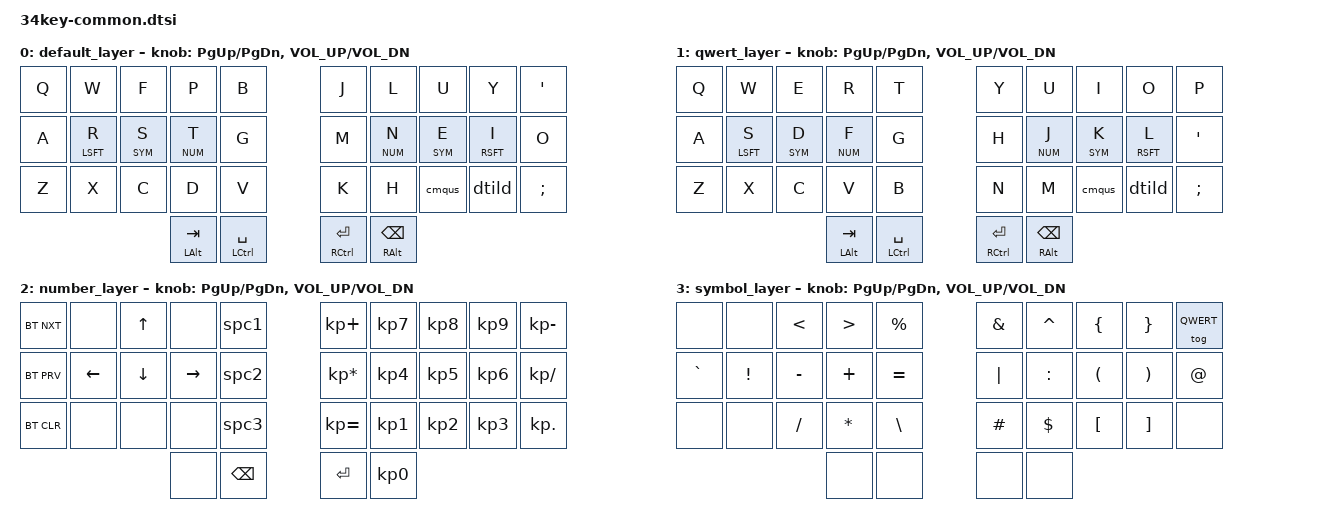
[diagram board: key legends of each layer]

#define DEFAULT 0
#define QWERT   1
#define NUM     2
#define SYM     3

&mt {
   flavor = "tap-preferred";
   tapping_term_ms = <200>;
};

/ { 
    // macros
    macros {
      ZMK_MACRO(hello, // hello world
        wait-ms = <0>;
        tap-ms  = <10>;
        bindings = <&kp LS(H) &kp E &kp L &kp L &kp O>
        , <&kp COMMA>
        , <&kp W &kp O &kp R &kp L &kp D &kp EXCL>;
      )

      ZMK_MACRO(spc1, // for spacemacs window nav, Alt+M+1
        wait-ms = <0>;
        tap-ms  = <10>;
        bindings = <&kp LA(M) &kp N1>;
      )
    
      ZMK_MACRO(spc2,
        wait-ms = <0>;
        tap-ms  = <10>;
        bindings = <&kp LA(M) &kp N2>;
      )
    
      ZMK_MACRO(spc3,
        wait-ms = <0>;
        tap-ms  = <10>;
        bindings = <&kp LA(M) &kp N3>;
      )
    };
   
    // custom shift using mod-morph 
    behaviors {
      cmqus: comma_question {
        compatible = "zmk,behavior-mod-morph";
        label = "COMMA_QUESTION";
        #binding-cells = <0>;
        bindings = <&kp COMMA>, <&kp QUESTION>;
        mods = <(MOD_LSFT|MOD_RSFT)>;
      };

      dtild: dot_tilde {
        compatible = "zmk,behavior-mod-morph";
        label = "DOT_TILDE";
        #binding-cells = <0>;
        bindings = <&kp DOT>, <&kp TILDE>;
        mods = <(MOD_LSFT|MOD_RSFT)>;
      };
    };

    // combos
    combos {
        compatible = "zmk,combos";
        // right hand 
        combo_esc {
            timeout-ms = <50>;
            key-positions = <16 17>;
            bindings = <&kp ESC>;
        };
        
         combo_lgui {
            timeout-ms = <50>;
            key-positions = <5 6>;
            bindings = <&kp LGUI>;
        };
        
         combo_fullscreen {
            timeout-ms = <50>;
            key-positions = <25 26>;
            bindings = <&kp F11>;
        };
        
         combo_wkspc_up {
            timeout-ms = <50>;
            key-positions = <9 19>;
            bindings = <&kp LC(UP)>;
        };
        
         combo_wkspc_down {
            timeout-ms = <50>;
            key-positions = <19 29>;
            bindings = <&kp LC(DOWN)>;
        };

         combo_win_up {
            timeout-ms = <50>;
            key-positions = <7 8>;
            bindings = <&kp LS(LG(UP))>;
        };
        
         combo_win_down {
            timeout-ms = <50>;
            key-positions = <27 28>;
            bindings = <&kp LS(LG(DOWN))>;
        };

         combo_win_left {
            timeout-ms = <50>;
            key-positions = <17 18>;
            bindings = <&kp LS(LG(LEFT))>;
        };

         combo_win_right {
            timeout-ms = <50>;
            key-positions = <9 18>;
            bindings = <&kp LS(LG(RIGHT))>;
        };
 
         combo_rdelete {
            timeout-ms = <50>;
            key-positions = <15 16>;
            bindings = <&kp DELETE>;
        };
 
        // left hand 
        combo_zoomin {
            timeout-ms = <50>;
            key-positions = <3 4>;
            bindings = <&kp LC(PLUS)>;
        };
 
        combo_zoomout {
            timeout-ms = <50>;
            key-positions = <23 24>;
            bindings = <&kp LC(MINUS)>;
        };
 
        combo_pgdn {
            timeout-ms = <50>;
            key-positions = <22 23>;
            bindings = <&kp PG_DN>;
        };
 
        combo_pgup {
            timeout-ms = <50>;
            key-positions = <2 3>;
            bindings = <&kp PG_UP>;
        };

        combo_ldelete {
            timeout-ms = <50>;
            key-positions = <13 14>;
            bindings = <&kp DELETE>;
        };

        // symbols
        combo_underscore {
            timeout-ms = <50>;
            key-positions = <11 12>;
            bindings = <&kp UNDERSCORE>;
        };

        combo_minus {
            timeout-ms = <50>;
            key-positions = <12 13>;
            bindings = <&kp MINUS>;
        };

        // others
        combo_capswd {
            timeout-ms = <50>;
            key-positions = <2 7>;
            bindings = <&caps_word>;
        };

        combo_lsym {
            timeout-ms = <50>;
            key-positions = <30 33>;
            bindings = <&tog SYM>;
        };

        combo_lnum {
            timeout-ms = <50>;
            key-positions = <31 32>;
            bindings = <&tog NUM>;
        };

        combo_hello {
            timeout-ms = <50>;
            key-positions = <30 31>;
            bindings = <&hello>;
        };

        // output selection
        // combo_outusb {
        //     timeout-ms = <50>;
        //     key-positions = <4 14>;
        //     bindings = <&out OUT_USB>;
        // };
 
        combo_outble {
            timeout-ms = <50>;
            key-positions = <4 14>;
            bindings = <&out OUT_BLE>;
        };

        combo_outtog {
            timeout-ms = <50>;
            key-positions = <4 24>;
            bindings = <&out OUT_TOG>;
        };

        // ble selection
        combo_ble1 {
            timeout-ms = <50>;
            key-positions = <14 24>;
            bindings = <&bt BT_SEL 0>;
        };

        combo_ble2 {
            timeout-ms = <50>;
            key-positions = <13 23>;
            bindings = <&bt BT_SEL 1>;
        };

        combo_ble3 {
            timeout-ms = <50>;
            key-positions = <12 22>;
            bindings = <&bt BT_SEL 2>;
        };

        combo_ble4 {
            timeout-ms = <50>;
            key-positions = <11 21>;
            bindings = <&bt BT_SEL 3>;
        };

        combo_ble5 {
            timeout-ms = <50>;
            key-positions = <10 20>;
            bindings = <&bt BT_SEL 4>;
        };
    };

    keymap {
        compatible = "zmk,keymap";
                
     		default_layer {
        		bindings = <
            		&kp Q &kp W      &kp F     &kp P     &kp B    &kp J &kp L     &kp U     &kp Y      &kp SQT
             		&kp A &mt LSFT R &lt SYM S &lt NUM T &kp G    &kp M &lt NUM N &lt SYM E &mt RSFT I &kp O
                &kp Z &kp X      &kp C     &kp D     &kp V    &kp K &kp H     &cmqus    &dtild     &kp SEMI
          			              &mt LALT TAB  &mt LCTL SPACE    &mt RCTL RET    &mt RALT BSPC
             		>;
                sensor-bindings = <&inc_dec_kp PG_UP PG_DN &inc_dec_kp C_VOL_UP C_VOL_DN>;
		    };

     		qwert_layer {
        		bindings = <
            		&kp Q &kp W      &kp E     &kp R     &kp T    &kp Y &kp U     &kp I      &kp O       &kp P
             		&kp A &mt LSFT S &lt SYM D &lt NUM F &kp G    &kp H &lt NUM J &lt SYM K  &mt RSFT L  &kp SQT 
                &kp Z &kp X      &kp C     &kp V     &kp B    &kp N &kp M     &cmqus     &dtild      &kp SEMI
          			              &mt LALT TAB  &mt LCTL SPACE    &mt RCTL RET    &mt RALT BSPC
             		>;
                sensor-bindings = <&inc_dec_kp PG_UP PG_DN &inc_dec_kp C_VOL_UP C_VOL_DN>;
		    };

        number_layer {
            bindings = <
                &bt BT_NXT  &none     &kp UP    &none      &spc1      &kp KP_PLUS     &kp KP_N7 &kp KP_N8 &kp KP_N9 &kp KP_MINUS
                &bt BT_PRV  &kp LEFT  &kp DOWN  &kp RIGHT  &spc2      &kp KP_MULTIPLY &kp KP_N4 &kp KP_N5 &kp KP_N6 &kp KP_DIVIDE
                &bt BT_CLR  &none     &none     &none      &spc3      &kp KP_EQUAL    &kp KP_N1 &kp KP_N2 &kp KP_N3 &kp KP_DOT
                                             &none      &kp BSPC      &kp RET         &kp KP_N0
            >;
                sensor-bindings = <&inc_dec_kp PG_UP PG_DN &inc_dec_kp C_VOL_UP C_VOL_DN>;
        };

        symbol_layer {
            bindings = <
                &none     &none    &kp LT    &kp GT   &kp PRCNT   &kp AMPS &kp CARET &kp LBRC &kp RBRC &tog QWERT
                &kp GRAVE &kp EXCL &kp MINUS &kp PLUS &kp EQUAL   &kp PIPE &kp COLON &kp LPAR &kp RPAR &kp AT
                &none     &none    &kp SLASH &kp STAR &kp BSLH    &kp HASH &kp DLLR  &kp LBKT &kp RBKT &none  
                                             &none    &none       &none    &none
            >;
                sensor-bindings = <&inc_dec_kp PG_UP PG_DN &inc_dec_kp C_VOL_UP C_VOL_DN>;
        };
        
   	};
};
